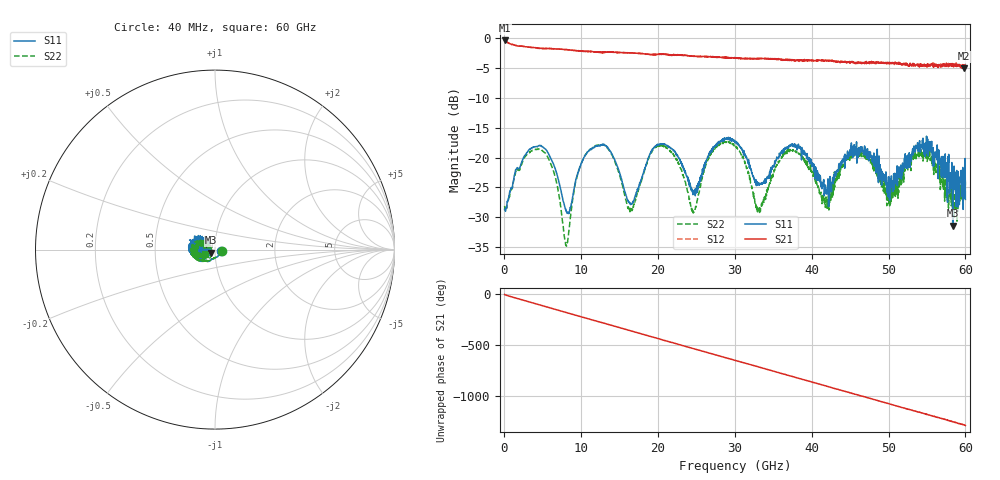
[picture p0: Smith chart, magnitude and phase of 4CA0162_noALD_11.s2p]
! File created by 'SoftPlot +Plus+ Measurement Management Software'
! SoftPlot +Plus+ Measurement Management Software
! Start 40.000000 MHz  Stop 60.000000 GHz  Points 1601
# MHZ S RI R 50
! S-Parameter data, F S11 S21 S12 S22
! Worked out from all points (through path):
!   1601 points, 40 MHz to 60 GHz, reference 50 ohm
!   highest |S21| = -0.37 dB at 40 MHz (marker M1); lowest = -5.1 dB at 59.85 GHz (marker M2)
!   group delay of S21, straight-line fit = 59.7 ps
!   lowest |S11| = -31.4 dB at 58.35 GHz (marker M3), VSWR 1.06, Z = 47.9 - j1.61 ohm
!   |S11| at or under -10 dB: start of sweep to end of sweep
!   |S22| runs from -34.8 to -17.3 dB; largest |S21 - S12| = 0.039
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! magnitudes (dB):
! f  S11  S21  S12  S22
! 40 MHz  -28.7  -0.4  -0.4  -28.1
! 4.762 GHz  -17.9  -1.7  -1.7  -18.7
! 6.561 GHz  -21.6  -1.8  -1.8  -22.9
! 8.097 GHz  -29.1  -1.9  -1.9  -34.8
! 10.05 GHz  -20.9  -2.2  -2.1  -20.9
! 13.23 GHz  -18.0  -2.3  -2.3  -18.1
! 16.49 GHz  -27.8  -2.5  -2.5  -28.6
! 20.05 GHz  -17.8  -2.7  -2.7  -18.0
! 22.45 GHz  -19.7  -2.8  -2.8  -20.3
! 24.62 GHz  -26.1  -3.0  -3.0  -29.1
! 26.95 GHz  -19.1  -3.2  -3.1  -19.2
! 30.02 GHz  -17.6  -3.3  -3.3  -18.0
! 33.13 GHz  -24.3  -3.4  -3.4  -28.4
! 36.73 GHz  -18.5  -3.6  -3.7  -19.0
! 40.03 GHz  -21.4  -3.7  -3.8  -22.3
! 41.94 GHz  -25.5  -3.7  -3.7  -27.3
! 46.55 GHz  -18.6  -4.2  -4.2  -19.2
! 50.03 GHz  -23.2  -4.2  -4.3  -25.7
! 54.15 GHz  -19.0  -4.4  -4.6  -19.6
! 58.35 GHz  -31.4  -4.7  -4.5  -28.9
! 59.85 GHz  -24.4  -5.1  -4.9  -24.9
! 60 GHz  -27.0  -4.6  -4.7  -24.6
